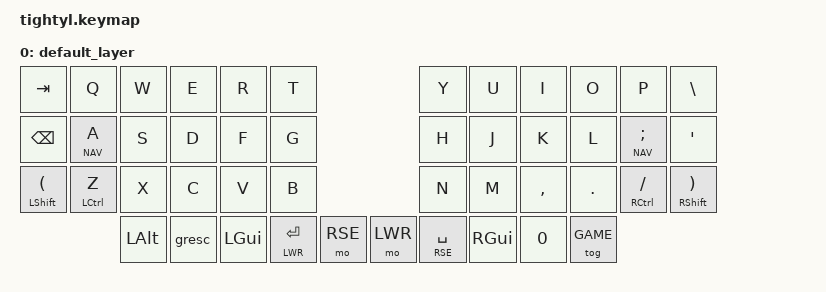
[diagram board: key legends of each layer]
#include <behaviors.dtsi>
#include <dt-bindings/zmk/keys.h>

#define DEF 0

/ {
    keymap {
        compatible = "zmk,keymap";
        default_layer {
			bindings = <
				&kp TAB   	   &kp Q       &kp W    &kp E  &kp R    &kp T         		   											&kp Y    	  &kp U    &kp I     &kp O     &kp P          &kp BSLH
				&kp BSPC  	   &lt NAV A   &kp S    &kp D  &kp F    &kp G             	       	 									&kp H     	  &kp J    &kp K     &kp L     &lt NAV SEMI   &kp SQT
				&mt LSHFT LPAR &mt LCTRL Z &kp X    &kp C  &kp V    &kp B                      	    								&kp N         &kp M    &kp COMMA &kp DOT   &mt RCTRL FSLH &mt RSHFT RPAR
										   &kp LALT &gresc 				&kp LGUI &lt LWR RET &mo RSE 		&mo LWR &lt RSE SPACE &kp RGUI 			  	   &kp N0    &tog GAME
            >;
        };
    };
};
